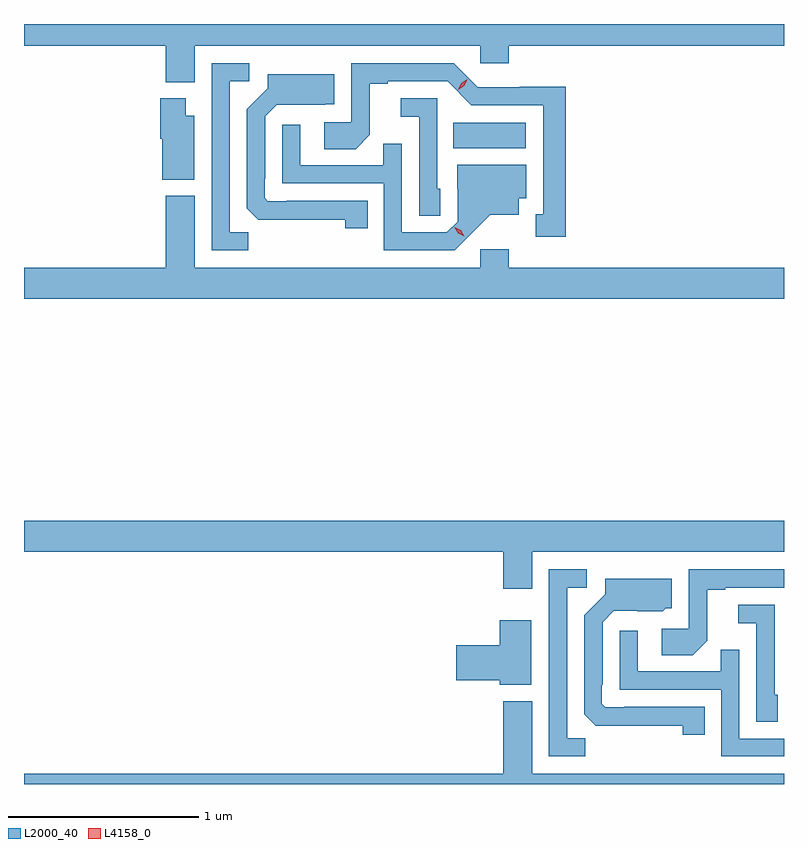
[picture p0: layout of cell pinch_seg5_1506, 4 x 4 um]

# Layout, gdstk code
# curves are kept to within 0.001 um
import gdstk
lib = gdstk.Library(unit=1e-6, precision=1e-09)
def R(c, l, rs):  # rectangles x0, y0, x1, y1
    for r in rs: c.add(gdstk.rectangle(r[:2], r[2:], *l))
def P(c, l, *ps):  # polygons
    for p in ps: c.add(gdstk.Polygon(p, *l))
L2000_40 = (2000, 40)
L4158_0 = (4158, 0)

pinch_seg5_1506 = lib.new_cell('pinch_seg5_1506')
R(pinch_seg5_1506, L2000_40, [(303.202,872.204,303.583,872.338)])
P(pinch_seg5_1506, L2000_40, [(301.84,872.744),(303.342,872.744),(303.342,872.651),(303.494,872.651),(303.494,872.744),(304.942,872.744),(304.942,872.858),(300.942,872.858),(300.942,872.744),(301.688,872.744),(301.688,872.552),(301.84,872.552)],
  [(303.793,872.528),(303.552,872.528),(303.552,872.526),(303.33,872.526),(303.204,872.652),(302.664,872.652),(302.664,872.34),(302.523,872.34),(302.523,872.2),(302.687,872.2),(302.763,872.276),(302.763,872.544),(302.857,872.544),(302.857,872.556),(303.171,872.556),(303.297,872.43),(303.674,872.43),(303.674,871.857),(303.635,871.857),(303.635,871.737),(303.793,871.737)],
  [(302.121,871.763),(302.025,871.763),(302.025,872.556),(302.128,872.556),(302.128,872.652),(301.929,872.652),(301.929,871.668),(302.121,871.668)],
  [(302.75,871.929),(302.326,871.929),(302.326,871.926),(302.226,871.926),(302.208,871.944),(302.208,872.044),(302.211,872.044),(302.211,872.373),(302.271,872.433),(302.528,872.432),(302.531,872.435),(302.575,872.435),(302.575,872.593),(302.225,872.593),(302.225,872.52),(302.115,872.41),(302.115,871.888),(302.174,871.829),(302.632,871.828),(302.632,871.782),(302.75,871.782)],
  [(301.837,872.374),(301.792,872.374),(301.792,872.467),(301.658,872.467),(301.658,872.253),(301.67,872.253),(301.67,872.039),(301.837,872.039)],
  [(303.132,871.992),(303.117,871.992),(303.117,872.466),(302.925,872.466),(302.925,872.369),(303.021,872.369),(303.021,871.849),(303.132,871.849)],
  [(303.292,871.751),(303.395,871.853),(303.547,871.853),(303.547,871.94),(303.586,871.94),(303.586,872.116),(303.221,872.116),(303.221,871.992),(303.225,871.992),(303.225,871.818),(303.168,871.761),(302.931,871.761),(302.931,872.228),(302.833,872.228),(302.833,872.115),(302.397,872.115),(302.397,872.329),(302.301,872.329),(302.301,872.019),(302.835,872.019),(302.835,871.668),(303.208,871.668)],
  [(304.942,871.576),(303.494,871.576),(303.494,871.672),(303.342,871.672),(303.342,871.576),(301.84,871.576),(301.84,871.954),(301.688,871.954),(301.688,871.576),(300.942,871.576),(300.942,871.412),(304.942,871.412)],
  [(303.616,870.08),(304.942,870.08),(304.942,870.244),(300.942,870.244),(300.942,870.08),(303.464,870.08),(303.464,869.886),(303.616,869.886)],
  [(303.897,869.099),(303.801,869.099),(303.801,869.892),(303.904,869.892),(303.904,869.988),(303.705,869.988),(303.705,869.004),(303.897,869.004)],
  [(304.539,869.612),(304.539,869.88),(304.633,869.88),(304.633,869.892),(304.942,869.892),(304.942,869.988),(304.44,869.988),(304.44,869.676),(304.299,869.676),(304.299,869.536),(304.463,869.536)],
  [(304.526,869.265),(304.102,869.265),(304.102,869.262),(304.002,869.262),(303.984,869.28),(303.984,869.38),(303.987,869.38),(303.987,869.709),(304.047,869.769),(304.304,869.768),(304.32,869.784),(304.351,869.784),(304.351,869.938),(304.001,869.938),(304.001,869.856),(303.891,869.746),(303.891,869.224),(303.95,869.165),(304.408,869.164),(304.408,869.118),(304.526,869.118)],
  [(304.908,869.328),(304.893,869.328),(304.893,869.802),(304.701,869.802),(304.701,869.705),(304.797,869.705),(304.797,869.185),(304.908,869.185)],
  [(303.613,869.719),(303.446,869.719),(303.446,869.588),(303.216,869.588),(303.216,869.405),(303.446,869.405),(303.446,869.381),(303.613,869.381)],
  [(304.942,869.097),(304.707,869.097),(304.707,869.564),(304.609,869.564),(304.609,869.451),(304.173,869.451),(304.173,869.665),(304.077,869.665),(304.077,869.355),(304.611,869.355),(304.611,869.004),(304.942,869.004)],
  [(304.942,868.912),(303.616,868.912),(303.616,869.293),(303.464,869.293),(303.464,868.912),(300.942,868.912),(300.942,868.858),(304.942,868.858)])
P(pinch_seg5_1506, L4158_0, [(303.227,872.513),(303.227,872.513),(303.244,872.546),(303.276,872.566),(303.276,872.566),(303.276,872.565),(303.259,872.533),(303.228,872.513)],
  [(303.258,871.742),(303.228,871.757),(303.21,871.786),(303.21,871.787),(303.21,871.787),(303.241,871.772),(303.258,871.742),(303.258,871.742)])

lib.write_gds('pinch_seg5_1506.gds')
